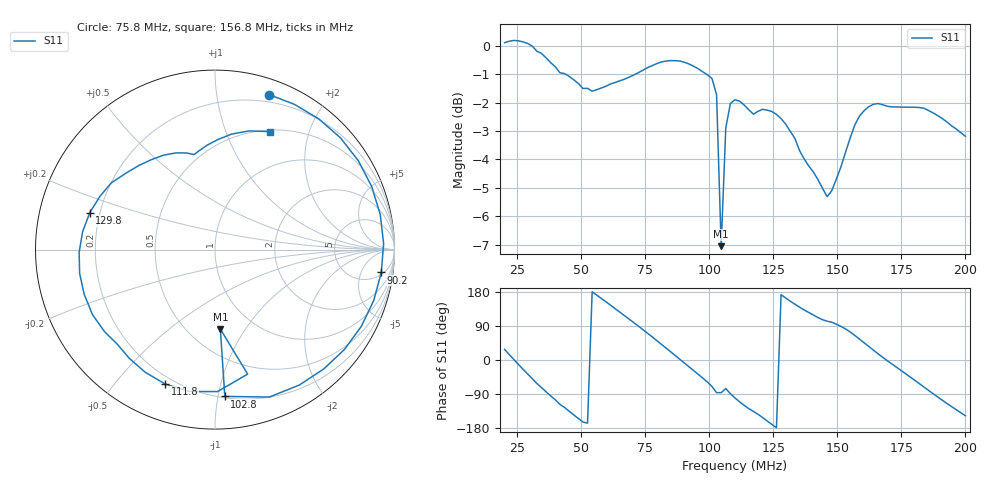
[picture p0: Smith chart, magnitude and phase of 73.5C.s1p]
# HZ S RI R 50
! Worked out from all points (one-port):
!   101 points, 20 MHz to 200 MHz, reference 50 ohm
!   lowest |S11| = -7.1 dB at 104.6 MHz (marker M1), VSWR 2.60, Z = 35.3 - j38.9 ohm
!   |S11| at or under -10 dB: nowhere
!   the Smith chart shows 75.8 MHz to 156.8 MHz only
!   S11 on the Smith chart (normalised r, x): 75.8 MHz: 0.13, +1.40; 90.2 MHz: 6, -12; 102.8 MHz: 0.21, -1.05; 111.8 MHz: 0.17, -0.68; 129.8 MHz: 0.16, +0.14; 156.8 MHz: 0.52, +1.44
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2e7  0.8959 0.4722
2.54e7  0.9991 -0.206
3.26e7  0.4604 -0.863
3.8e7  -0.077 -0.9305
4.34e7  -0.5146 -0.7301
4.88e7  -0.7743 -0.3702
5.42e7  -0.8316 0.00121
6.5e7  -0.5143 0.6986
7.58e7  0.3003 0.8641
8.3e7  0.7983 0.4955
8.84e7  0.9394 0.034
9.02e7  0.9264 -0.1275
9.74e7  0.606 -0.665
1.028e8  0.0547 -0.8181
1.046e8  0.0298 -0.4427
1.064e8  0.1818 -0.6937
1.1e8  -0.1435 -0.7904
1.118e8  -0.2781 -0.7487
1.226e8  -0.7287 -0.2492
1.298e8  -0.6981 0.2049
1.334e8  -0.5776 0.3716
1.46e8  -0.1161 0.5296
1.55e8  0.1898 0.6614
1.568e8  0.3064 0.6573
1.676e8  0.7808 0.1034
1.784e8  0.5539 -0.548
1.874e8  0.0139 -0.7614
2e8  -0.5814 -0.3766
